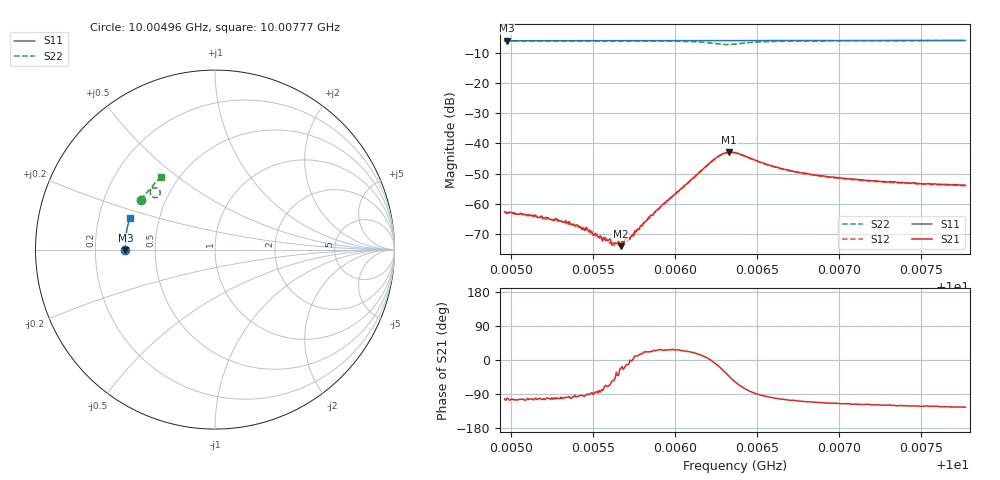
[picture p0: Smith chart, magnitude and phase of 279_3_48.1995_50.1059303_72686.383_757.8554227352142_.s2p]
#  HZ  S  RI  R  50.00
! Rohde & Schwarz Vector Network Analyzer
! Rohde-Schwarz,ZNB20-2Port,1311601062101988,3.16
! Created: UTC 3/20/2024, 11:48:36 AM
! freq[Hz]  re:S11  im:S11  re:S21  im:S21  re:S12  im:S12  re:S22  im:S22
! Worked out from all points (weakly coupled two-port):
!   401 points, 10.00496 GHz to 10.00777 GHz, reference 50 ohm
!   highest |S21| = -42.92 dB at 10.00633 GHz (marker M1); lowest = -74.0 dB at 10.00567 GHz (marker M2)
!   lowest |S11| = -6.0 dB at 10.00497 GHz (marker M3), VSWR 3.00, Z = 16.7 - j0.169 ohm
!   |S11| at or under -10 dB: nowhere
!   |S22| runs from -7.3 to -6.0 dB; largest |S21 - S12| = 0.00039
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1.0004961e10  -0.4995 -0.00477  -0.000166 -0.000709  -0.000127 -0.000715  -0.4105 0.2758
1.0004975e10  -0.4995 -0.00379  -0.000125 -0.000669  -0.000129 -0.000713  -0.41 0.2767
1.0005284e10  -0.4999 0.0163  -0.000118 -0.000542  -8.97e-05 -0.000504  -0.3982 0.2948
1.0005361e10  -0.4999 0.0213  -8.75e-05 -0.000455  -6.53e-05 -0.000453  -0.395 0.2994
1.0005431e10  -0.4997 0.0259  -1.78e-05 -0.000372  -4.89e-07 -0.000392  -0.3919 0.3037
1.0005473e10  -0.4997 0.0286  -2.79e-06 -0.000344  3.91e-07 -0.000356  -0.39 0.3062
1.0005544e10  -0.4996 0.0333  2.63e-05 -0.000294  9.92e-05 -0.000254  -0.3868 0.3104
1.0005593e10  -0.4995 0.0363  8.51e-05 -0.000229  9.17e-05 -0.000217  -0.3843 0.3136
1.0005628e10  -0.4993 0.0386  0.000129 -0.000181  0.000131 -0.000152  -0.3823 0.3157
1.000567e10  -0.4992 0.0414  0.000184 -7.4e-05  0.000183 -8.77e-05  -0.3803 0.3184
1.0005691e10  -0.4992 0.0428  0.000223 -8.27e-05  0.000244 -8.59e-05  -0.379 0.3196
1.0005733e10  -0.4989 0.0454  0.000294 -1.38e-05  0.000288 1.72e-05  -0.3765 0.3225
1.0005838e10  -0.4986 0.0524  0.000555 0.000219  0.00052 0.000238  -0.3695 0.3292
1.0005901e10  -0.4981 0.0564  0.000737 0.000385  0.000714 0.000401  -0.3646 0.3334
1.0006231e10  -0.4956 0.0775  0.0053 -0.000423  0.00517 -0.000148  -0.3101 0.3317
1.0006281e10  -0.495 0.0806  0.00604 -0.00249  0.00602 -0.00216  -0.3054 0.3128
1.000633e10  -0.4946 0.0833  0.0052 -0.0049  0.00531 -0.00455  -0.3168 0.294
1.0006365e10  -0.4945 0.0855  0.00378 -0.00591  0.00398 -0.0056  -0.331 0.2895
1.0006589e10  -0.4927 0.0998  -0.000674 -0.0042  -0.000479 -0.00412  -0.3599 0.3266
1.0006835e10  -0.4898 0.1155  -0.00108 -0.00284  -0.000953 -0.00284  -0.3497 0.3515
1.0007305e10  -0.4829 0.1451  -0.00111 -0.00202  -0.00102 -0.002  -0.326 0.38
1.0007769e10  -0.4744 0.1738  -0.00113 -0.00166  -0.00106 -0.00168  -0.3024 0.4019
